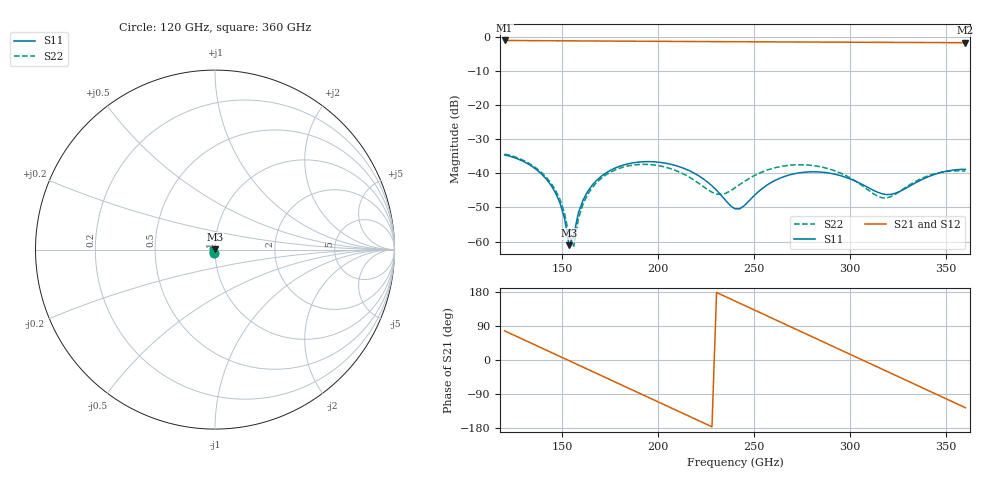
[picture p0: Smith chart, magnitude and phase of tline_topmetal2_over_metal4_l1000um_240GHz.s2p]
#  GHZ S DB R 50
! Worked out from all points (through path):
!   101 points, 120 GHz to 360 GHz, reference 50 ohm
!   highest |S21| = -0.97 dB at 120 GHz (marker M1); lowest = -1.6 dB at 360 GHz (marker M2)
!   group delay of S21, straight-line fit = 6.51 ps
!   lowest |S11| = -61.2 dB at 153.6 GHz (marker M3), VSWR 1.00, Z = 50 + j0.0772 ohm
!   |S11| at or under -10 dB: start of sweep to end of sweep
!   |S22| runs from -61.4 to -34.3 dB; largest |S21 - S12| = 9.9e-14
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120  -34.58 -101.1  -0.97 76.9  -0.97 76.9  -34.33 -101.3
134.4  -37.98 -140.4  -1.02 43.1  -1.02 43.1  -37.63 -140.3
144  -43.34 -168.6  -1.05 20.6  -1.05 20.6  -42.74 -168.1
148.8  -48.60 173.6  -1.07 9.4  -1.07 9.4  -47.59 175.2
153.6  -61.16 118.0  -1.08 -1.9  -1.08 -1.9  -58.49 137.7
156  -58.16 20.0  -1.09 -7.5  -1.09 -7.5  -61.36 35.7
158.4  -51.67 -5.6  -1.10 -13.1  -1.10 -13.1  -53.41 -3.4
160.8  -47.91 -17.6  -1.11 -18.7  -1.11 -18.7  -49.05 -17.2
165.6  -43.47 -34.7  -1.12 -30.0  -1.12 -30.0  -44.19 -34.9
175.2  -39.06 -63.5  -1.15 -52.5  -1.15 -52.5  -39.63 -64.0
189.6  -36.69 -104.8  -1.19 -86.2  -1.19 -86.2  -37.40 -106.1
201.6  -36.80 -139.9  -1.23 -114.4  -1.23 -114.4  -37.88 -143.0
220.8  -40.60 158.3  -1.28 -159.4  -1.28 -159.4  -42.78 142.1
230.4  -44.96 117.5  -1.31 178.1  -1.31 178.1  -46.07 77.0
240  -50.42 41.1  -1.34 155.6  -1.34 155.6  -44.23 2.4
261.6  -41.86 -101.8  -1.39 104.9  -1.39 104.9  -38.24 -91.1
280.8  -39.53 -168.7  -1.44 59.9  -1.44 59.9  -37.71 -155.1
302.4  -42.20 111.2  -1.49 9.2  -1.49 9.2  -42.12 124.7
314.4  -45.55 46.5  -1.52 -18.9  -1.52 -18.9  -46.73 52.1
321.6  -46.13 -5.9  -1.54 -35.8  -1.54 -35.8  -46.73 -8.6
340.8  -40.94 -110.2  -1.58 -80.9  -1.58 -80.9  -40.66 -109.3
360  -38.80 -175.4  -1.62 -126.0  -1.62 -126.0  -39.32 -177.0
